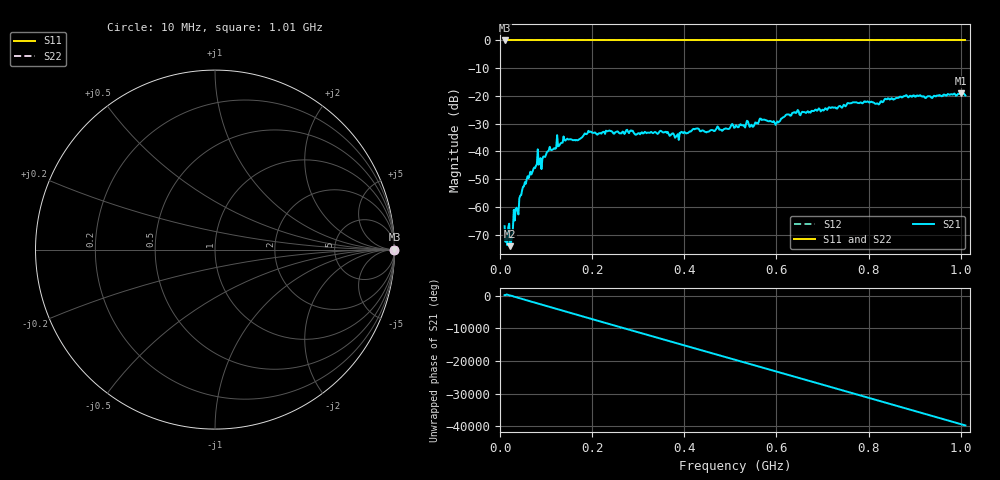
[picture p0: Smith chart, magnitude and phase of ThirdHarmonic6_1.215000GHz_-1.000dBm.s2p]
! 8/16/2025 12:42:09 PM
! C:\ANRITSUVNA\TEMP\TEMP.S2P
! CHANNEL.1
! TR.MEASUREMENT
! RAW.DATA
! RF.CORRECTION.OFF
! AVERAGING.OFF
! IF.BANDWIDTH: 5KHZ
! SWEEPTYPE:  FREQ.SWEEP(Linear)
! Reference Plane Port Info
! PORT:  PORT1  PORT2
! DISTANCE:  0  m  0  m
! TIME:  0  s  0  s
! PHASE.OFFSET:  0  deg.  0  deg.
! LOSS:  0  dB  0  dB
! REF.LOSS:  0  dB  0  dB
! REF.FREQ:  0  Hz  0  Hz
! Power Info
! POWER:  -20  dBm  -20  dBm
! EFF.POWER:  -20  dBm  -20  dBm
! SOURCE.ATTEN:  0  dB  0  dB
! TEST.ATTEN:  0  dB  0  dB
# GHZ S RI R 50.0
! FREQ.GHZ  S11RE  S11IM  S21RE  S21IM  S12RE  S12IM  S22RE  S22IM
!; PortSelection: Port_12
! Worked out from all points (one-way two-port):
!   501 points, 10 MHz to 1.01 GHz, reference 50 ohm
!   highest |S21| = -18.98 dB at 1 GHz (marker M1); lowest = -74.1 dB at 22 MHz (marker M2)
!   lowest |S11| = 0.0 dB at 10 MHz (marker M3)
!   |S11| at or under -10 dB: nowhere
!   |S22| runs from 0.0 to 0.0 dB; largest |S21 - S12| = 1.1
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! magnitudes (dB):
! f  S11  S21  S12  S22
! 10 MHz  0.0  -66.9  0.0  0.0
! 22 MHz  0.0  -74.1  0.0  0.0
! 26 MHz  0.0  -71.0  0.0  0.0
! 32 MHz  0.0  -64.9  0.0  0.0
! 46 MHz  0.0  -55.7  0.0  0.0
! 78 MHz  0.0  -45.2  0.0  0.0
! 142 MHz  0.0  -36.1  0.0  0.0
! 178 MHz  0.0  -34.9  0.0  0.0
! 196 MHz  0.0  -32.8  0.0  0.0
! 344 MHz  0.0  -33.4  0.0  0.0
! 384 MHz  0.0  -34.2  0.0  0.0
! 424 MHz  0.0  -31.8  0.0  0.0
! 450 MHz  0.0  -32.9  0.0  0.0
! 510 MHz  0.0  -31.4  0.0  0.0
! 546 MHz  0.0  -30.4  0.0  0.0
! 568 MHz  0.0  -28.7  0.0  0.0
! 600 MHz  0.0  -29.8  0.0  0.0
! 624 MHz  0.0  -26.6  0.0  0.0
! 678 MHz  0.0  -25.4  0.0  0.0
! 844 MHz  0.0  -20.9  0.0  0.0
! 1 GHz  0.0  -19.0  0.0  0.0
! 1.01 GHz  0.0  -19.8  0.0  0.0
